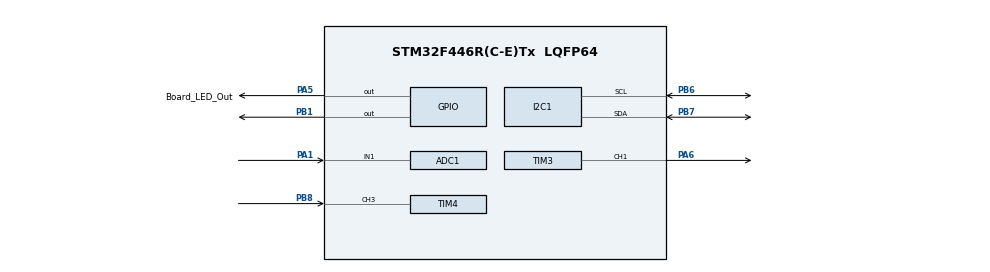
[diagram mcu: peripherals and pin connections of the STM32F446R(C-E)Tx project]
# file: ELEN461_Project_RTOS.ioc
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ADC1.Channel-0\#ChannelRegularConversion=ADC_CHANNEL_1
ADC1.ContinuousConvMode=DISABLE
ADC1.NbrOfConversion=1
ADC1.NbrOfConversionFlag=1
ADC1.Rank-0\#ChannelRegularConversion=1
ADC1.SamplingTime-0\#ChannelRegularConversion=ADC_SAMPLETIME_3CYCLES
ADC1.master=1
Dma.ADC1.0.Direction=DMA_PERIPH_TO_MEMORY
Dma.ADC1.0.FIFOMode=DMA_FIFOMODE_DISABLE
Dma.ADC1.0.Instance=DMA2_Stream0
Dma.ADC1.0.MemDataAlignment=DMA_MDATAALIGN_HALFWORD
Dma.ADC1.0.MemInc=DMA_MINC_ENABLE
Dma.ADC1.0.Mode=DMA_CIRCULAR
Dma.ADC1.0.PeriphDataAlignment=DMA_PDATAALIGN_HALFWORD
Dma.ADC1.0.PeriphInc=DMA_PINC_DISABLE
Dma.ADC1.0.Priority=DMA_PRIORITY_LOW
Dma.Request0=ADC1
FREERTOS.Tasks01=defaultTask,18,128,StartDefaultTask,Default,NULL,Dynamic,NULL,NULL;errorCalc,24,128,Task_Error_Calc,Default,NULL,Dynamic,NULL,NULL;setPWM,24,128,Task_Set_PWM,Default,NULL,Dynamic,NULL,NULL;displayUpdate,18,128,Task_Display_Update,Default,NULL,Dynamic,NULL,NULL;getDistance,24,128,Task_Get_Distance,Default,NULL,Dynamic,NULL,NULL;readADC,18,128,Task_Read_ADC,Default,NULL,Dynamic,NULL,NULL
Mcu.Family=STM32F4
Mcu.Name=STM32F446R(C-E)Tx
Mcu.Package=LQFP64
NVIC.ADC_IRQn=true\:5\:0\:false\:false\:true\:true\:true\:true
NVIC.DMA2_Stream0_IRQn=true\:5\:0\:false\:false\:true\:true\:false\:true
NVIC.PriorityGroup=NVIC_PRIORITYGROUP_4
NVIC.TIM4_IRQn=true\:5\:0\:false\:false\:true\:true\:true\:true
NVIC.TIM6_DAC_IRQn=true\:15\:0\:false\:false\:true\:false\:false\:true
NVIC.TimeBase=TIM6_DAC_IRQn
NVIC.TimeBaseIP=TIM6
PA1.Signal=ADCx_IN1
PA5.GPIO_Label=Board_LED_Out
PA5.Signal=GPIO_Output
PA6.Signal=S_TIM3_CH1
PB1.GPIO_PuPd=GPIO_PULLDOWN
PB1.Signal=GPIO_Output
PB6.Mode=I2C
PB6.Signal=I2C1_SCL
PB7.Mode=I2C
PB7.Signal=I2C1_SDA
PB8.Signal=S_TIM4_CH3
ProjectManager.HeapSize=0x200
ProjectManager.StackSize=0x400
ProjectManager.TargetToolchain=EWARM V8.32
RCC.CortexFreq_Value=16000000
RCC.USBFreq_Value=96000000
RCC.VCOOutputFreq_Value=192000000
SH.ADCx_IN1.0=ADC1_IN1,IN1
SH.S_TIM3_CH1.0=TIM3_CH1,PWM Generation1 CH1
SH.S_TIM4_CH3.0=TIM4_CH3,Input_Capture3_from_TI3
TIM3.Channel-PWM\ Generation1\ CH1=TIM_CHANNEL_1
TIM3.ClockDivision=TIM_CLOCKDIVISION_DIV1
TIM3.Period=10000
TIM3.Prescaler=32-1
TIM4.Channel-Input_Capture3_from_TI3=TIM_CHANNEL_3
TIM4.ICPolarity_CH3=TIM_INPUTCHANNELPOLARITY_RISING
TIM4.Prescaler=16-1
TIM8.Prescaler=16-1
VP_FREERTOS_VS_CMSIS_V2.Mode=CMSIS_V2
VP_SYS_VS_tim6.Mode=TIM6
VP_TIM4_VS_ClockSourceINT.Mode=Internal
VP_TIM8_VS_ClockSourceINT.Mode=Internal
board=custom

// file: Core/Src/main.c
/* USER CODE BEGIN Header */
/**
  ******************************************************************************
  * @file           : main.c
  * @brief          : Main program body
  ******************************************************************************
  * @attention
  *
  * <h2><center>&copy; Copyright (c) 2022 STMicroelectronics.
  * All rights reserved.</center></h2>
  *
  * This software component is licensed by ST under Ultimate Liberty license
  * SLA0044, the "License"; You may not use this file except in compliance with
  * the License. You may obtain a copy of the License at:
  *                             www.st.com/SLA0044
  *
  ******************************************************************************
  */
/* USER CODE END Header */
#include "main.h"
#include "cmsis_os.h"

/* USER CODE BEGIN Includes */
#include "servo.h"
#include "ux_manager.h"
#include "hc_sr04.h"
/* USER CODE END Includes */

/* USER CODE BEGIN PD */
#define LED_BOARD_PIN           GPIOA, GPIO_PIN_5
#define SENSOR_TRIG_PIN         GPIOB, GPIO_PIN_1

#define DISTANCE_MAX            25.0      // in cm
#define DISTANCE_MIN            3.0       // in cm
#define DISTANCE_RANGE          (DISTANCE_MAX - DISTANCE_MIN)
#define DISTANCE_MID            ((DISTANCE_RANGE/2.0) + DISTANCE_MIN)      // in cm
#define DISTANCE_RANGE_LEFT     (DISTANCE_MAX - DISTANCE_MID)
#define DISTANCE_RANGE_RIGHT    (DISTANCE_MID - DISTANCE_MIN)

#define SERVO_RIGHT_RANGE_VALUE       (SERVO_ZERO_POSITION_VALUE - SERVO_RIGHT_POSITION_VALUE)
#define SERVO_LEFT_RANGE_VALUE        (SERVO_LEFT_POSITION_VALUE - SERVO_ZERO_POSITION_VALUE)

#define DISTANCE_BUFF_SIZE      3
#define ADC_BUFF_SIZE           3

#define INTEGRAL_MAX            10
#define INTEGRAL_MIN            (-10)

// For spikes due to bad sensor readings
#define DERIVATIVE_MAX          50
#define DERIVATIVE_MIN          (-50)

/* USER CODE END PD */

ADC_HandleTypeDef hadc1;
DMA_HandleTypeDef hdma_adc1;

I2C_HandleTypeDef hi2c1;

TIM_HandleTypeDef htim3;
TIM_HandleTypeDef htim4;
TIM_HandleTypeDef htim8;

/* Definitions for defaultTask */
osThreadId_t defaultTaskHandle;
const osThreadAttr_t defaultTask_attributes = {
  .name = "defaultTask",
  .stack_size = 128 * 4,
  .priority = (osPriority_t) osPriorityBelowNormal2,
};
/* Definitions for errorCalc */
osThreadId_t errorCalcHandle;
const osThreadAttr_t errorCalc_attributes = {
  .name = "errorCalc",
  .stack_size = 128 * 4,
  .priority = (osPriority_t) osPriorityNormal,
};
/* Definitions for setPWM */
osThreadId_t setPWMHandle;
const osThreadAttr_t setPWM_attributes = {
  .name = "setPWM",
  .stack_size = 128 * 4,
  .priority = (osPriority_t) osPriorityNormal,
};
/* Definitions for displayUpdate */
osThreadId_t displayUpdateHandle;
const osThreadAttr_t displayUpdate_attributes = {
  .name = "displayUpdate",
  .stack_size = 128 * 4,
  .priority = (osPriority_t) osPriorityBelowNormal2,
};
/* Definitions for getDistance */
osThreadId_t getDistanceHandle;
const osThreadAttr_t getDistance_attributes = {
  .name = "getDistance",
  .stack_size = 128 * 4,
  .priority = (osPriority_t) osPriorityNormal,
};
/* Definitions for readADC */
osThreadId_t readADCHandle;
const osThreadAttr_t readADC_attributes = {
  .name = "readADC",
  .stack_size = 128 * 4,
  .priority = (osPriority_t) osPriorityBelowNormal2,
};
/* USER CODE BEGIN PV */
uint8_t buttons;
uint16_t count;

//uint8_t servoState = SERVO_STATE_ZERO_POSITION;
uint8_t servoDir = MID;
uint8_t servoDirLast = RIGHT;
uint16_t servoDutyCurrent = SERVO_STATE_ZERO_POSITION;
uint32_t servoRightValue, servoLeftValue;
const int32_t servoRightValueNeg = (SERVO_RIGHT_RANGE_VALUE*(-1));
const int32_t servoLeftValueNeg = (SERVO_LEFT_RANGE_VALUE*(-1));
const int32_t distanceLeftValueNeg = (DISTANCE_RANGE_LEFT * (-1));
uint32_t servoDuty;

// Display Varaibles
//DWfloat target = {"%4.1f ", "----", 0, 0, true, 25.0};
//DWfloat distance = {"%4.1f ", "----", 0, 0, true, 25.0};
DWuint16_t target = {"%d ", "----", 0, 0, true, 25};
DWuint16_t distance = {"%d ", "----", 0, 0, true, 25};

// Ultrasonic Sensor
uint8_t firstCaptured = false;
uint32_t pulseVal1, pulseVal2;
uint16_t pulseWidthValue;
float distanceInCM;
uint16_t distanceBuff[DISTANCE_BUFF_SIZE];
uint32_t distanceSum;
uint32_t distanceAvg;

// ADC
volatile uint16_t adcValue;
volatile uint16_t adcValueFinal;
//float distanceTarget;
uint16_t adcValueBuff[ADC_BUFF_SIZE];
uint32_t adcValueSum;

// Controller
float errorRaw, errorRawLast;
float errorFinal;
float errorFinalSum;
float proportional, integral, derivative;
const float Kp = 1.2;
const float Ki = 0.2;
const float Kd = 0.6;

/* USER CODE END PV */

void SystemClock_Config(void);
static void MX_GPIO_Init(void);
static void MX_I2C1_Init(void);
static void MX_TIM3_Init(void);
static void MX_DMA_Init(void);
static void MX_ADC1_Init(void);
static void MX_TIM4_Init(void);
static void MX_TIM8_Init(void);
void StartDefaultTask(void *argument);
void Task_Error_Calc(void *argument);
void Task_Set_PWM(void *argument);
void Task_Display_Update(void *argument);
void Task_Get_Distance(void *argument);
void Task_Read_ADC(void *argument);

/* USER CODE BEGIN PFP */
void Set_Servo_Position(uint16_t duty);
/* USER CODE END PFP */

/* USER CODE BEGIN 0 */
void HAL_TIM_IC_CaptureCallback(TIM_HandleTypeDef *htim) {
  if(htim->Channel == HAL_TIM_ACTIVE_CHANNEL_3) {
    if(!firstCaptured) {
      pulseVal1 = HAL_TIM_ReadCapturedValue(htim, TIM_CHANNEL_3);
      firstCaptured = true;
      __HAL_TIM_SET_CAPTUREPOLARITY(htim, TIM_CHANNEL_3, TIM_INPUTCHANNELPOLARITY_FALLING);
      __HAL_TIM_SET_COUNTER(htim, 0);
    }
    else {
      pulseVal2 = HAL_TIM_ReadCapturedValue(htim, TIM_CHANNEL_3);

      // Calculate distance in centimeters
      //distance.data = pulseVal2/58;

      for(uint8_t i = 0; i < DISTANCE_BUFF_SIZE-1; i++) {
        distanceBuff[i] = distanceBuff[i+1];
      }
      distanceBuff[DISTANCE_BUFF_SIZE-1] = (uint16_t) pulseVal2/58;

      distanceSum = 0;
      for(uint8_t i = 0; i < DISTANCE_BUFF_SIZE; i++) {
        distanceSum += distanceBuff[i];
      }
      distanceAvg = distanceSum/DISTANCE_BUFF_SIZE;
      if(distanceAvg > 30) {distance.data = 30;}
      else {distance.data = distanceAvg;}

      __HAL_TIM_SET_COUNTER(htim, 0);
      firstCaptured = false;
      __HAL_TIM_SET_CAPTUREPOLARITY(htim, TIM_CHANNEL_3, TIM_INPUTCHANNELPOLARITY_RISING);
    }

  }
}
/* USER CODE END 0 */

int main(void)
{

  /* MCU Configuration--------------------------------------------------------*/

  /* Reset of all peripherals, Initializes the Flash interface and the Systick. */
  HAL_Init();

  /* Configure the system clock */
  SystemClock_Config();

  /* Initialize all configured peripherals */
  MX_GPIO_Init();
  MX_I2C1_Init();
  MX_TIM3_Init();
  MX_DMA_Init();
  MX_ADC1_Init();
  MX_TIM4_Init();
  MX_TIM8_Init();
  /* USER CODE BEGIN 2 */
  // Initialize PWM timer
  HAL_TIM_PWM_Start(&htim3, TIM_CHANNEL_1);

  // Initialize timer for delay
  HAL_TIM_Base_Start(&htim8);

  // Initialize input capture interrupt for sensor
  HAL_TIM_IC_Start_IT(&htim4, TIM_CHANNEL_3);

  HAL_ADC_Start_DMA(&hadc1, (uint32_t *) &adcValue, 1);

  // Initialize display
  SSD1306_Init();
  SwitchScreens(HOME);
  /* USER CODE END 2 */

  /* Init scheduler */
  osKernelInitialize();

  /* Create the thread(s) */
  /* creation of defaultTask */
  defaultTaskHandle = osThreadNew(StartDefaultTask, NULL, &defaultTask_attributes);

  /* creation of errorCalc */
  errorCalcHandle = osThreadNew(Task_Error_Calc, NULL, &errorCalc_attributes);

  /* creation of setPWM */
  setPWMHandle = osThreadNew(Task_Set_PWM, NULL, &setPWM_attributes);

  /* creation of displayUpdate */
  displayUpdateHandle = osThreadNew(Task_Display_Update, NULL, &displayUpdate_attributes);

  /* creation of getDistance */
  getDistanceHandle = osThreadNew(Task_Get_Distance, NULL, &getDistance_attributes);

  /* creation of readADC */
  readADCHandle = osThreadNew(Task_Read_ADC, NULL, &readADC_attributes);

  /* Start scheduler */
  osKernelStart();

  /* We should never get here as control is now taken by the scheduler */
  /* Infinite loop */
  while (1)
  {

  }
}

void SystemClock_Config(void)
{
  RCC_OscInitTypeDef RCC_OscInitStruct = {0};
  RCC_ClkInitTypeDef RCC_ClkInitStruct = {0};

  /** Configure the main internal regulator output voltage
  */
  __HAL_RCC_PWR_CLK_ENABLE();
  __HAL_PWR_VOLTAGESCALING_CONFIG(PWR_REGULATOR_VOLTAGE_SCALE3);
  /** Initializes the RCC Oscillators according to the specified parameters
  * in the RCC_OscInitTypeDef structure.
  */
  RCC_OscInitStruct.OscillatorType = RCC_OSCILLATORTYPE_HSI;
  RCC_OscInitStruct.HSIState = RCC_HSI_ON;
  RCC_OscInitStruct.HSICalibrationValue = RCC_HSICALIBRATION_DEFAULT;
  RCC_OscInitStruct.PLL.PLLState = RCC_PLL_NONE;
  if (HAL_RCC_OscConfig(&RCC_OscInitStruct) != HAL_OK)
  {
    Error_Handler();
  }
  /** Initializes the CPU, AHB and APB buses clocks
  */
  RCC_ClkInitStruct.ClockType = RCC_CLOCKTYPE_HCLK|RCC_CLOCKTYPE_SYSCLK
                              |RCC_CLOCKTYPE_PCLK1|RCC_CLOCKTYPE_PCLK2;
  RCC_ClkInitStruct.SYSCLKSource = RCC_SYSCLKSOURCE_HSI;
  RCC_ClkInitStruct.AHBCLKDivider = RCC_SYSCLK_DIV1;
  RCC_ClkInitStruct.APB1CLKDivider = RCC_HCLK_DIV1;
  RCC_ClkInitStruct.APB2CLKDivider = RCC_HCLK_DIV1;

  if (HAL_RCC_ClockConfig(&RCC_ClkInitStruct, FLASH_LATENCY_0) != HAL_OK)
  {
    Error_Handler();
  }
}

static void MX_ADC1_Init(void)
{

  ADC_ChannelConfTypeDef sConfig = {0};

  /** Configure the global features of the ADC (Clock, Resolution, Data Alignment and number of conversion)
  */
  hadc1.Instance = ADC1;
  hadc1.Init.ClockPrescaler = ADC_CLOCK_SYNC_PCLK_DIV2;
  hadc1.Init.Resolution = ADC_RESOLUTION_12B;
  hadc1.Init.ScanConvMode = DISABLE;
  hadc1.Init.ContinuousConvMode = DISABLE;
  hadc1.Init.DiscontinuousConvMode = DISABLE;
  hadc1.Init.ExternalTrigConvEdge = ADC_EXTERNALTRIGCONVEDGE_NONE;
  hadc1.Init.ExternalTrigConv = ADC_SOFTWARE_START;
  hadc1.Init.DataAlign = ADC_DATAALIGN_RIGHT;
  hadc1.Init.NbrOfConversion = 1;
  hadc1.Init.DMAContinuousRequests = DISABLE;
  hadc1.Init.EOCSelection = ADC_EOC_SINGLE_CONV;
  if (HAL_ADC_Init(&hadc1) != HAL_OK)
  {
    Error_Handler();
  }
  /** Configure for the selected ADC regular channel its corresponding rank in the sequencer and its sample time.
  */
  sConfig.Channel = ADC_CHANNEL_1;
  sConfig.Rank = 1;
  sConfig.SamplingTime = ADC_SAMPLETIME_3CYCLES;
  if (HAL_ADC_ConfigChannel(&hadc1, &sConfig) != HAL_OK)
  {
    Error_Handler();
  }

}

static void MX_I2C1_Init(void)
{

  hi2c1.Instance = I2C1;
  hi2c1.Init.ClockSpeed = 100000;
  hi2c1.Init.DutyCycle = I2C_DUTYCYCLE_2;
  hi2c1.Init.OwnAddress1 = 0;
  hi2c1.Init.AddressingMode = I2C_ADDRESSINGMODE_7BIT;
  hi2c1.Init.DualAddressMode = I2C_DUALADDRESS_DISABLE;
  hi2c1.Init.OwnAddress2 = 0;
  hi2c1.Init.GeneralCallMode = I2C_GENERALCALL_DISABLE;
  hi2c1.Init.NoStretchMode = I2C_NOSTRETCH_DISABLE;
  if (HAL_I2C_Init(&hi2c1) != HAL_OK)
  {
    Error_Handler();
  }

}

static void MX_TIM3_Init(void)
{

  TIM_MasterConfigTypeDef sMasterConfig = {0};
  TIM_OC_InitTypeDef sConfigOC = {0};

  htim3.Instance = TIM3;
  htim3.Init.Prescaler = 32-1;
  htim3.Init.CounterMode = TIM_COUNTERMODE_UP;
  htim3.Init.Period = 10000;
  htim3.Init.ClockDivision = TIM_CLOCKDIVISION_DIV1;
  htim3.Init.AutoReloadPreload = TIM_AUTORELOAD_PRELOAD_DISABLE;
  if (HAL_TIM_PWM_Init(&htim3) != HAL_OK)
  {
    Error_Handler();
  }
  sMasterConfig.MasterOutputTrigger = TIM_TRGO_RESET;
  sMasterConfig.MasterSlaveMode = TIM_MASTERSLAVEMODE_DISABLE;
  if (HAL_TIMEx_MasterConfigSynchronization(&htim3, &sMasterConfig) != HAL_OK)
  {
    Error_Handler();
  }
  sConfigOC.OCMode = TIM_OCMODE_PWM1;
  sConfigOC.Pulse = 0;
  sConfigOC.OCPolarity = TIM_OCPOLARITY_HIGH;
  sConfigOC.OCFastMode = TIM_OCFAST_DISABLE;
  if (HAL_TIM_PWM_ConfigChannel(&htim3, &sConfigOC, TIM_CHANNEL_1) != HAL_OK)
  {
    Error_Handler();
  }
  HAL_TIM_MspPostInit(&htim3);

}

static void MX_TIM4_Init(void)
{

  TIM_ClockConfigTypeDef sClockSourceConfig = {0};
  TIM_MasterConfigTypeDef sMasterConfig = {0};
  TIM_IC_InitTypeDef sConfigIC = {0};

  htim4.Instance = TIM4;
  htim4.Init.Prescaler = 16-1;
  htim4.Init.CounterMode = TIM_COUNTERMODE_UP;
  htim4.Init.Period = 65535;
  htim4.Init.ClockDivision = TIM_CLOCKDIVISION_DIV1;
  htim4.Init.AutoReloadPreload = TIM_AUTORELOAD_PRELOAD_DISABLE;
  if (HAL_TIM_Base_Init(&htim4) != HAL_OK)
  {
    Error_Handler();
  }
  sClockSourceConfig.ClockSource = TIM_CLOCKSOURCE_INTERNAL;
  if (HAL_TIM_ConfigClockSource(&htim4, &sClockSourceConfig) != HAL_OK)
  {
    Error_Handler();
  }
  if (HAL_TIM_IC_Init(&htim4) != HAL_OK)
  {
    Error_Handler();
  }
  sMasterConfig.MasterOutputTrigger = TIM_TRGO_RESET;
  sMasterConfig.MasterSlaveMode = TIM_MASTERSLAVEMODE_DISABLE;
  if (HAL_TIMEx_MasterConfigSynchronization(&htim4, &sMasterConfig) != HAL_OK)
  {
    Error_Handler();
  }
  sConfigIC.ICPolarity = TIM_INPUTCHANNELPOLARITY_RISING;
  sConfigIC.ICSelection = TIM_ICSELECTION_DIRECTTI;
  sConfigIC.ICPrescaler = TIM_ICPSC_DIV1;
  sConfigIC.ICFilter = 0;
  if (HAL_TIM_IC_ConfigChannel(&htim4, &sConfigIC, TIM_CHANNEL_3) != HAL_OK)
  {
    Error_Handler();
  }

}

static void MX_TIM8_Init(void)
{

  TIM_ClockConfigTypeDef sClockSourceConfig = {0};
  TIM_MasterConfigTypeDef sMasterConfig = {0};

  htim8.Instance = TIM8;
  htim8.Init.Prescaler = 16-1;
  htim8.Init.CounterMode = TIM_COUNTERMODE_UP;
  htim8.Init.Period = 65535;
  htim8.Init.ClockDivision = TIM_CLOCKDIVISION_DIV1;
  htim8.Init.RepetitionCounter = 0;
  htim8.Init.AutoReloadPreload = TIM_AUTORELOAD_PRELOAD_DISABLE;
  if (HAL_TIM_Base_Init(&htim8) != HAL_OK)
  {
    Error_Handler();
  }
  sClockSourceConfig.ClockSource = TIM_CLOCKSOURCE_INTERNAL;
  if (HAL_TIM_ConfigClockSource(&htim8, &sClockSourceConfig) != HAL_OK)
  {
    Error_Handler();
  }
  sMasterConfig.MasterOutputTrigger = TIM_TRGO_RESET;
  sMasterConfig.MasterSlaveMode = TIM_MASTERSLAVEMODE_DISABLE;
  if (HAL_TIMEx_MasterConfigSynchronization(&htim8, &sMasterConfig) != HAL_OK)
  {
    Error_Handler();
  }

}

static void MX_DMA_Init(void)
{

  /* DMA controller clock enable */
  __HAL_RCC_DMA2_CLK_ENABLE();

  /* DMA interrupt init */
  /* DMA2_Stream0_IRQn interrupt configuration */
  HAL_NVIC_SetPriority(DMA2_Stream0_IRQn, 5, 0);
  HAL_NVIC_EnableIRQ(DMA2_Stream0_IRQn);

}

static void MX_GPIO_Init(void)
{
  GPIO_InitTypeDef GPIO_InitStruct = {0};

  /* GPIO Ports Clock Enable */
  __HAL_RCC_GPIOA_CLK_ENABLE();
  __HAL_RCC_GPIOB_CLK_ENABLE();

  /*Configure GPIO pin Output Level */
  HAL_GPIO_WritePin(Board_LED_Out_GPIO_Port, Board_LED_Out_Pin, GPIO_PIN_RESET);

  /*Configure GPIO pin Output Level */
  HAL_GPIO_WritePin(GPIOB, GPIO_PIN_1, GPIO_PIN_RESET);

  /*Configure GPIO pin : Board_LED_Out_Pin */
  GPIO_InitStruct.Pin = Board_LED_Out_Pin;
  GPIO_InitStruct.Mode = GPIO_MODE_OUTPUT_PP;
  GPIO_InitStruct.Pull = GPIO_NOPULL;
  GPIO_InitStruct.Speed = GPIO_SPEED_FREQ_LOW;
  HAL_GPIO_Init(Board_LED_Out_GPIO_Port, &GPIO_InitStruct);

  /*Configure GPIO pin : PB1 */
  GPIO_InitStruct.Pin = GPIO_PIN_1;
  GPIO_InitStruct.Mode = GPIO_MODE_OUTPUT_PP;
  GPIO_InitStruct.Pull = GPIO_PULLDOWN;
  GPIO_InitStruct.Speed = GPIO_SPEED_FREQ_LOW;
  HAL_GPIO_Init(GPIOB, &GPIO_InitStruct);

}

/* USER CODE BEGIN 4 */
void delay_us(uint16_t us) {
  /*
  __HAL_TIM_SET_COUNTER(&htim14,0);  // set the counter value a 0
  while (__HAL_TIM_GET_COUNTER(&htim14) < us){;} // wait for the counter to reach the us input in the parameter
*/
  htim8.Instance->CNT = 0;
  while(htim8.Instance->CNT < us);
}
/* USER CODE END 4 */

void StartDefaultTask(void *argument)
{
  /* USER CODE BEGIN 5 */
  portTickType lastWakeTime;
  const portTickType taskInterval = 1000; //(every n ticks in ms)
  lastWakeTime = xTaskGetTickCount();
  /* Infinite loop */
  for(;;)
  {
    HAL_GPIO_TogglePin(LED_BOARD_PIN);
    vTaskDelayUntil(&lastWakeTime,taskInterval);
  }
  /* USER CODE END 5 */
}

void Task_Error_Calc(void *argument)
{
  /* USER CODE BEGIN Task_Error_Calc */
  portTickType lastWakeTime;
  const portTickType taskInterval = 75; //(every n ticks in ms)
  lastWakeTime = xTaskGetTickCount();
  /* Infinite loop */
  for(;;)
  {

    errorRaw = target.data - distance.data;

    proportional = Kp * errorRaw;
    integral += Ki * (taskInterval/1000.0) * ((errorRaw+errorRawLast)/2.0);
    if(integral > INTEGRAL_MAX) {integral = INTEGRAL_MAX;}
    if(integral < INTEGRAL_MIN) {integral = INTEGRAL_MIN;}
    derivative = Kd * (((errorRaw-errorRawLast)/ (taskInterval/1000.0)));
    // For spikes due to bad sensor data
    if(derivative > DERIVATIVE_MAX) {derivative = 5;}
    if(derivative < DERIVATIVE_MIN) {derivative = 5;}

    errorFinal = proportional + integral + derivative;
    errorRawLast = errorRaw;

    vTaskDelayUntil(&lastWakeTime,taskInterval);
  }
  /* USER CODE END Task_Error_Calc */
}

void Task_Set_PWM(void *argument)
{
  /* USER CODE BEGIN Task_Set_PWM */
  portTickType lastWakeTime;
  const portTickType taskInterval = 75; //(every n ticks in ms)
  lastWakeTime = xTaskGetTickCount();
  /* Infinite loop */
  for(;;)
  {

    /*
    switch(servoDir) {
        case LEFT:
          //if(servoDir != servoDirLast) {
            Set_Servo_Position(SERVO_LEFT_POSITION_VALUE);
            servoDirLast = servoDir;
            servoDir = MID;
          //}
          break;
        case MID:
          //if(servoDir != servoDirLast) {
            Set_Servo_Position(SERVO_ZERO_POSITION_VALUE);
            servoDirLast = servoDir;
            servoDir = RIGHT;
          //}
          break;
        case RIGHT:
          //if(servoDir != servoDirLast) {
            Set_Servo_Position(SERVO_RIGHT_POSITION_VALUE);
            servoDirLast = servoDir;
            servoDir = LEFT;
          //}
          break;
    }
    */

    if(errorFinal > DISTANCE_RANGE_RIGHT) {errorFinal = DISTANCE_RANGE_RIGHT;}
    if(errorFinal < distanceLeftValueNeg) {errorFinal = distanceLeftValueNeg;}

    servoDuty =  (uint32_t) (SERVO_ZERO_POSITION_VALUE + ((errorFinal/DISTANCE_RANGE_LEFT) * SERVO_LEFT_RANGE_VALUE));
    Set_Servo_Position(servoDuty);

    vTaskDelayUntil(&lastWakeTime,taskInterval);
  }
  /* USER CODE END Task_Set_PWM */
}

void Task_Display_Update(void *argument)
{
  /* USER CODE BEGIN Task_Display_Update */
  portTickType lastWakeTime;
  const portTickType taskInterval = 75; //(every n ticks in ms)
  lastWakeTime = xTaskGetTickCount();
  /* Infinite loop */
  for(;;)
  {
    // Update display
    UpdateScreenValues();
    vTaskDelayUntil(&lastWakeTime,taskInterval);
  }
  /* USER CODE END Task_Display_Update */
}

void Task_Get_Distance(void *argument)
{
  /* USER CODE BEGIN Task_Get_Distance */
  portTickType lastWakeTime;
  const portTickType taskInterval = 50; //(every n ticks in ms)
  lastWakeTime = xTaskGetTickCount();
  /* Infinite loop */
  for(;;)
  {
    // Send read command to sensor
    HAL_GPIO_WritePin(SENSOR_TRIG_PIN, GPIO_PIN_SET);
    delay_us(10);
    HAL_GPIO_WritePin(SENSOR_TRIG_PIN, GPIO_PIN_RESET);

    vTaskDelayUntil(&lastWakeTime,taskInterval);
  }
  /* USER CODE END Task_Get_Distance */
}

void Task_Read_ADC(void *argument)
{
  /* USER CODE BEGIN Task_Read_ADC */
  portTickType lastWakeTime;
  const portTickType taskInterval = 100; //(every n ticks in ms)
  lastWakeTime = xTaskGetTickCount();
  /* Infinite loop */
  for(;;)
  {
    HAL_ADC_Start_DMA(&hadc1, (uint32_t *) adcValue, 1);

    // Update ADC buffer
    for(uint8_t i = 0; i < ADC_BUFF_SIZE-1; i++) {
      adcValueBuff[i] = adcValueBuff[i+1];
    }
    adcValueBuff[ADC_BUFF_SIZE-1] = adcValue;

    // Calculate the average from the buffer
    adcValueSum = 0;
    for(uint8_t i = 0; i < ADC_BUFF_SIZE; i++) {
      adcValueSum += adcValueBuff[i];
    }
    adcValueFinal = adcValueSum/ADC_BUFF_SIZE;

    target.data = (uint16_t) (DISTANCE_MAX - ((adcValueFinal/4096.0)*DISTANCE_RANGE));
    vTaskDelayUntil(&lastWakeTime,taskInterval);
  }
  /* USER CODE END Task_Read_ADC */
}

void HAL_TIM_PeriodElapsedCallback(TIM_HandleTypeDef *htim)
{
  if (htim->Instance == TIM6) {
    HAL_IncTick();
  }
}

void Error_Handler(void)
{
  __disable_irq();
  while (1)
  {
  }
}

/************************ (C) COPYRIGHT STMicroelectronics *****END OF FILE****/
